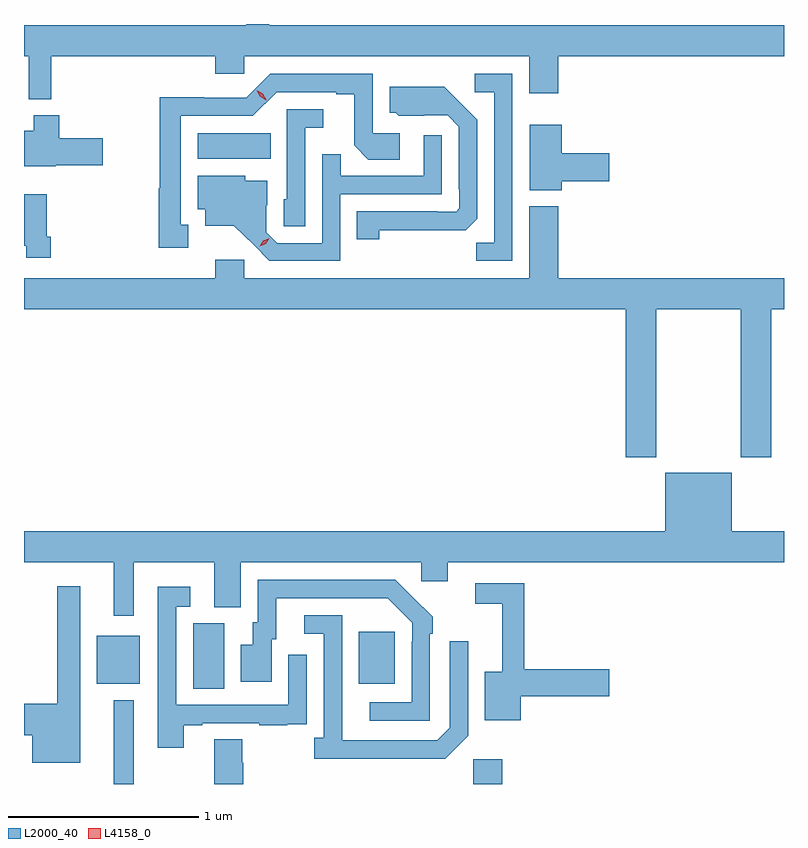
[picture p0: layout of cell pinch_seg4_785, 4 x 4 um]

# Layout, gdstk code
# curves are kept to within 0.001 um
import gdstk
lib = gdstk.Library(unit=1e-6, precision=1e-09)
def R(c, l, rs):  # rectangles x0, y0, x1, y1
    for r in rs: c.add(gdstk.rectangle(r[:2], r[2:], *l))
def P(c, l, *ps):  # polygons
    for p in ps: c.add(gdstk.Polygon(p, *l))
L2000_40 = (2000, 40)
L4158_0 = (4158, 0)

pinch_seg4_785 = lib.new_cell('pinch_seg4_785')
R(pinch_seg4_785, L2000_40, [(795.605,815.634,795.709,816.076), (797.496,815.634,797.648,815.764), (796.022,816.136,796.186,816.48), (795.515,816.161,795.742,816.415), (796.895,816.161,797.083,816.436), (796.046,818.924,796.43,819.058)])
P(pinch_seg4_785, L2000_40, [(795.275,819.464),(796.139,819.464),(796.139,819.371),(796.29,819.371),(796.29,819.464),(797.792,819.464),(797.792,819.27),(797.945,819.27),(797.945,819.464),(799.132,819.464),(799.132,819.628),(796.423,819.628),(796.423,819.634),(796.302,819.634),(796.302,819.628),(795.132,819.628),(795.132,819.464),(795.158,819.464),(795.158,819.239),(795.275,819.239)],
  [(795.997,818.577),(795.958,818.577),(795.958,819.15),(796.335,819.15),(796.461,819.276),(796.775,819.276),(796.775,819.264),(796.869,819.264),(796.869,818.996),(796.945,818.92),(797.11,818.92),(797.11,819.06),(796.968,819.06),(796.968,819.372),(796.428,819.372),(796.302,819.246),(796.08,819.246),(796.08,819.248),(795.847,819.248),(795.847,818.769),(795.84,818.769),(795.84,818.457),(795.997,818.457)],
  [(797.703,819.372),(797.505,819.372),(797.505,819.276),(797.607,819.276),(797.607,818.483),(797.512,818.483),(797.512,818.388),(797.703,818.388)],
  [(797.001,818.548),(797.458,818.549),(797.517,818.608),(797.517,819.13),(797.345,819.304),(797.057,819.304),(797.057,819.168),(797.088,819.168),(797.104,819.152),(797.361,819.153),(797.421,819.093),(797.421,818.764),(797.424,818.764),(797.424,818.664),(797.406,818.646),(797.306,818.646),(797.306,818.649),(796.882,818.649),(796.882,818.502),(797.001,818.502)],
  [(796.611,819.089),(796.708,819.089),(796.708,819.186),(796.515,819.186),(796.515,818.712),(796.5,818.712),(796.5,818.569),(796.611,818.569)],
  [(795.3,818.891),(795.547,818.891),(795.547,819.033),(795.317,819.033),(795.317,819.154),(795.182,819.154),(795.182,819.073),(795.132,819.073),(795.132,818.885),(795.3,818.885)],
  [(797.962,818.807),(798.211,818.807),(798.211,818.954),(797.962,818.954),(797.962,819.103),(797.795,819.103),(797.795,818.759),(797.962,818.759)],
  [(796.797,818.739),(797.331,818.739),(797.331,819.049),(797.235,819.049),(797.235,818.835),(796.799,818.835),(796.799,818.948),(796.701,818.948),(796.701,818.481),(796.464,818.481),(796.407,818.538),(796.407,818.68),(796.411,818.68),(796.411,818.809),(796.296,818.809),(796.296,818.836),(796.046,818.836),(796.046,818.66),(796.085,818.66),(796.085,818.573),(796.237,818.573),(796.424,818.388),(796.797,818.388)],
  [(795.272,818.515),(795.252,818.515),(795.252,818.737),(795.132,818.737),(795.132,818.468),(795.144,818.468),(795.144,818.403),(795.272,818.403)],
  [(798.459,818.132),(798.904,818.132),(798.904,817.353),(799.064,817.353),(799.064,818.132),(799.132,818.132),(799.132,818.296),(797.945,818.296),(797.945,818.674),(797.792,818.674),(797.792,818.296),(796.29,818.296),(796.29,818.392),(796.139,818.392),(796.139,818.296),(795.132,818.296),(795.132,818.132),(798.299,818.132),(798.299,817.353),(798.459,817.353)],
  [(795.709,816.8),(796.133,816.8),(796.133,816.565),(796.273,816.565),(796.273,816.8),(797.223,816.8),(797.223,816.702),(797.362,816.702),(797.362,816.8),(799.132,816.8),(799.132,816.964),(798.856,816.964),(798.856,817.273),(798.506,817.273),(798.506,816.964),(795.132,816.964),(795.132,816.8),(795.605,816.8),(795.605,816.519),(795.709,816.519)],
  [(797.268,816.425),(797.283,816.425),(797.283,816.513),(797.086,816.708),(796.362,816.708),(796.362,816.486),(796.337,816.486),(796.337,816.367),(796.274,816.367),(796.274,816.171),(796.435,816.171),(796.435,816.396),(796.459,816.396),(796.459,816.612),(797.047,816.612),(797.175,816.483),(797.175,816.383),(797.172,816.383),(797.172,816.063),(796.953,816.063),(796.953,815.967),(797.268,815.967)],
  [(797.746,816.097),(798.211,816.097),(798.211,816.239),(797.765,816.239),(797.765,816.69),(797.508,816.69),(797.508,816.582),(797.648,816.582),(797.648,816.226),(797.558,816.226),(797.558,815.969),(797.746,815.969)],
  [(795.427,816.676),(795.306,816.676),(795.306,816.056),(795.132,816.056),(795.132,815.891),(795.176,815.891),(795.176,815.747),(795.427,815.747)],
  [(795.973,815.943),(796.069,815.943),(796.069,815.955),(796.369,815.955),(796.369,815.943),(796.517,815.943),(796.517,815.949),(796.619,815.949),(796.619,816.058),(796.62,816.058),(796.62,816.313),(796.524,816.313),(796.524,816.051),(795.933,816.051),(795.933,816.567),(796.006,816.567),(796.006,816.673),(795.837,816.673),(795.837,815.826),(795.973,815.826)],
  [(797.469,815.889),(797.469,816.385),(797.373,816.385),(797.373,815.931),(797.307,815.865),(796.807,815.865),(796.806,816.522),(796.608,816.522),(796.608,816.426),(796.71,816.426),(796.71,815.878),(796.659,815.878),(796.659,815.768),(797.348,815.768)],
  [(796.286,815.745),(796.281,815.745),(796.281,815.87),(796.133,815.87),(796.133,815.634),(796.286,815.634)])
P(pinch_seg4_785, L4158_0, [(796.373,818.463),(796.373,818.463),(796.391,818.492),(796.422,818.506),(796.422,818.506),(796.422,818.506),(796.404,818.477),(796.373,818.463)],
  [(796.406,819.234),(796.374,819.253),(796.356,819.285),(796.356,819.286),(796.356,819.286),(796.388,819.267),(796.406,819.235),(796.406,819.234)])

lib.write_gds('pinch_seg4_785.gds')
